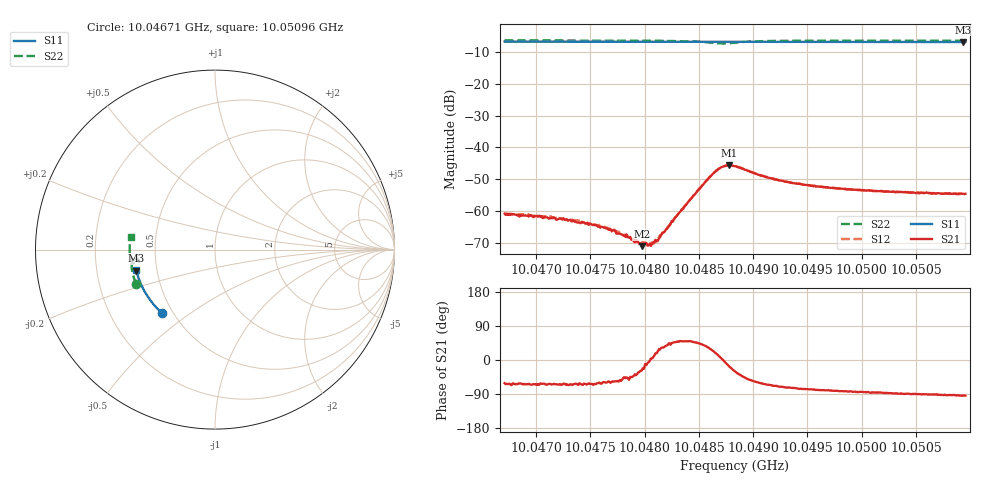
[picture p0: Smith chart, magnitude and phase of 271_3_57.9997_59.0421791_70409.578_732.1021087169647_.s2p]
#  HZ  S  RI  R  50.00
! Rohde & Schwarz Vector Network Analyzer
! Rohde-Schwarz,ZNB20-2Port,1311601062101988,3.16
! Created: UTC 3/21/2024, 1:02:23 AM
! freq[Hz]  re:S11  im:S11  re:S21  im:S21  re:S12  im:S12  re:S22  im:S22
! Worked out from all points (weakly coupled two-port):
!   401 points, 10.04671 GHz to 10.05096 GHz, reference 50 ohm
!   highest |S21| = -45.66 dB at 10.04878 GHz (marker M1); lowest = -71.0 dB at 10.04797 GHz (marker M2)
!   lowest |S11| = -6.9 dB at 10.05093 GHz (marker M3), VSWR 2.66, Z = 19.1 - j5.63 ohm
!   |S11| at or under -10 dB: nowhere
!   |S22| runs from -7.3 to -6.4 dB; largest |S21 - S12| = 0.00036
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1.0046708e10  -0.2969 -0.3523  0.000439 -0.000796  0.000466 -0.000779  -0.4399 -0.1906
1.0047027e10  -0.3122 -0.3378  0.000349 -0.000762  0.000423 -0.00073  -0.4476 -0.1704
1.0047123e10  -0.317 -0.3334  0.000347 -0.000674  0.000408 -0.000689  -0.4498 -0.164
1.004742e10  -0.3303 -0.3192  0.000291 -0.000614  0.000321 -0.000584  -0.4556 -0.1443
1.0047707e10  -0.3428 -0.3049  0.000273 -0.000415  0.000294 -0.00039  -0.4603 -0.1244
1.004776e10  -0.3451 -0.3022  0.000241 -0.000371  0.000307 -0.000362  -0.4612 -0.1206
1.0047855e10  -0.3488 -0.2973  0.000235 -0.000302  0.000274 -0.00027  -0.4623 -0.1137
1.0047898e10  -0.3508 -0.295  0.000251 -0.000225  0.000279 -0.000213  -0.4628 -0.1104
1.0047972e10  -0.3538 -0.2911  0.000248 -0.000131  0.000296 -9.6e-05  -0.4635 -0.1045
1.0048057e10  -0.3572 -0.2867  0.000282 1.99e-05  0.000314 5.11e-06  -0.4641 -0.0978
1.0048099e10  -0.3589 -0.2844  0.000336 0.000107  0.000323 0.000109  -0.4643 -0.0944
1.0048131e10  -0.3601 -0.2827  0.000325 0.00018  0.000347 0.000184  -0.4645 -0.0919
1.0048322e10  -0.3674 -0.2725  0.000618 0.000739  0.000593 0.000765  -0.463 -0.0744
1.0048609e10  -0.3777 -0.2566  0.00311 0.00169  0.00306 0.00188  -0.4397 -0.0503
1.0048694e10  -0.3805 -0.2521  0.00468 0.000632  0.00466 0.000921  -0.4269 -0.0574
1.0048779e10  -0.3832 -0.2474  0.00498 -0.00154  0.00512 -0.00121  -0.4275 -0.0728
1.0048832e10  -0.3852 -0.2444  0.00439 -0.00253  0.00455 -0.00228  -0.4353 -0.0786
1.0049214e10  -0.3979 -0.2227  0.00114 -0.0029  0.00129 -0.00286  -0.4691 -0.0525
1.0049543e10  -0.4075 -0.2032  0.000538 -0.00244  0.000666 -0.00243  -0.4746 -0.0255
1.0050255e10  -0.4253 -0.1599  8.19e-05 -0.002  0.000225 -0.00201  -0.4752 0.0255
1.0050934e10  -0.4379 -0.1172  -0.000109 -0.00186  1.61e-05 -0.00185  -0.4703 0.0713
1.0050956e10  -0.4383 -0.116  -0.000135 -0.00186  -1.31e-06 -0.00183  -0.4702 0.0727
